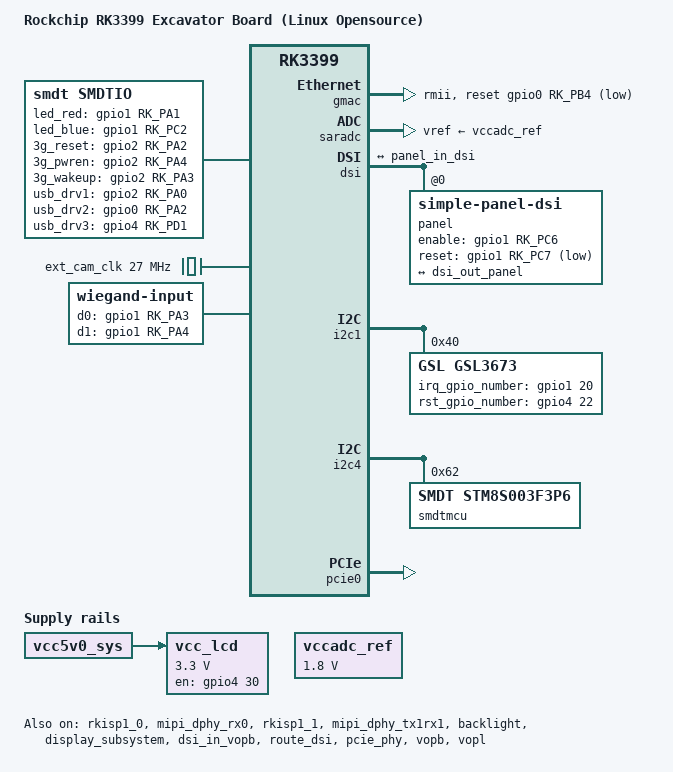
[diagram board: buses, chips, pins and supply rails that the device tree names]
/*
 * Copyright (c) 2016 Fuzhou Rockchip Electronics Co., Ltd
 *
 * This file is dual-licensed: you can use it either under the terms
 * of the GPL or the X11 license, at your option. Note that this dual
 * licensing only applies to this file, and not this project as a
 * whole.
 *
 *  a) This file is free software; you can redistribute it and/or
 *     modify it under the terms of the GNU General Public License as
 *     published by the Free Software Foundation; either version 2 of the
 *     License, or (at your option) any later version.
 *
 *     This file is distributed in the hope that it will be useful,
 *     but WITHOUT ANY WARRANTY; without even the implied warranty of
 *     MERCHANTABILITY or FITNESS FOR A PARTICULAR PURPOSE.  See the
 *     GNU General Public License for more details.
 *
 * Or, alternatively,
 *
 *  b) Permission is hereby granted, free of charge, to any person
 *     obtaining a copy of this software and associated documentation
 *     files (the "Software"), to deal in the Software without
 *     restriction, including without limitation the rights to use,
 *     copy, modify, merge, publish, distribute, sublicense, and/or
 *     sell copies of the Software, and to permit persons to whom the
 *     Software is furnished to do so, subject to the following
 *     conditions:
 *
 *     The above copyright notice and this permission notice shall be
 *     included in all copies or substantial portions of the Software.
 *
 *     THE SOFTWARE IS PROVIDED "AS IS", WITHOUT WARRANTY OF ANY KIND,
 *     EXPRESS OR IMPLIED, INCLUDING BUT NOT LIMITED TO THE WARRANTIES
 *     OF MERCHANTABILITY, FITNESS FOR A PARTICULAR PURPOSE AND
 *     NONINFRINGEMENT. IN NO EVENT SHALL THE AUTHORS OR COPYRIGHT
 *     HOLDERS BE LIABLE FOR ANY CLAIM, DAMAGES OR OTHER LIABILITY,
 *     WHETHER IN AN ACTION OF CONTRACT, TORT OR OTHERWISE, ARISING
 *     FROM, OUT OF OR IN CONNECTION WITH THE SOFTWARE OR THE USE OR
 *     OTHER DEALINGS IN THE SOFTWARE.
 */

/dts-v1/;

#include "rk3399-excavator-sapphire.dtsi"
#include "rk3399-linux.dtsi"
#include <dt-bindings/input/input.h>
#include <dt-bindings/pinctrl/rockchip.h>

/ {
	model = "Rockchip RK3399 Excavator Board (Linux Opensource)";
	compatible = "rockchip,rk3399-excavator-linux", "rockchip,rk3399";
	smdtio{
		compatible = "smdt,smdtio";
		status = "okay";

		led_red-gpio = <&gpio1 RK_PA1 GPIO_ACTIVE_HIGH>;
		led_blue-gpio = <&gpio1 RK_PC2 GPIO_ACTIVE_HIGH>;
		3g_reset-gpio = <&gpio2 RK_PA2 GPIO_ACTIVE_HIGH>;
		3g_pwren-gpio = <&gpio2 RK_PA4 GPIO_ACTIVE_HIGH>;
		3g_wakeup-gpio = <&gpio2 RK_PA3 GPIO_ACTIVE_HIGH>;
		//spk_clt-gpio = <&gpio0 RK_PB3 GPIO_ACTIVE_HIGH>;
		usb_drv1-gpio = <&gpio2 RK_PA0 GPIO_ACTIVE_HIGH>;
		usb_drv2-gpio = <&gpio0 RK_PA2 GPIO_ACTIVE_HIGH>;
		usb_drv3-gpio = <&gpio4 RK_PD1 GPIO_ACTIVE_HIGH>;
		phy_pwren-gpio = <&gpio4 RK_PD4 GPIO_ACTIVE_HIGH>;
		gpio_labels	=		"led_red",		"led_blue",
							"3g_reset",		"3g_pwren",
							"3g_wakeup",	//"spk_clt",
							"usb_drv1",		"usb_drv2",
							"usb_drv3",		"phy_pwren";
		gpio_direction =	"output",		"output",
							"output",		"output",
							"output",		//"output",
							"output",		"output",
							"output",		"output";
		gpio_default_value ="high",			"high",
							"high",			"high",
							"high",			//"high",
							"high",			"high",
							"high",			"high";
	};

	vcc_lcd: vcc-lcd {
		compatible = "regulator-fixed";
		regulator-name = "vcc_lcd";
		gpio = <&gpio4 30 GPIO_ACTIVE_HIGH>;//edp power
		startup-delay-us = <20000>;
		enable-active-high;
		regulator-min-microvolt = <3300000>;
		regulator-max-microvolt = <3300000>;
		regulator-boot-on;
		vin-supply = <&vcc5v0_sys>;
	};

	panel: panel {
		compatible = "simple-panel";
		status = "disabled";
		//backlight = <&backlight>;
		power-supply = <&vcc_lcd>;
		enable-gpios = <&gpio4 21 GPIO_ACTIVE_HIGH>;//8775_power
		prepare-delay-ms = <20>;
		enable-delay-ms = <20>;

		display-timings {
			native-mode = <&edp_timing>;

			edp_timing: timing0 {
				clock-frequency = <139000000>;
				hactive = <1920>;
				vactive = <1080>;
				hfront-porch = <40>;
				hsync-len = <20>;
				hback-porch = <100>;
				vfront-porch = <12>;
				vsync-len = <4>;
				vback-porch = <15>;
				hsync-active = <0>;
				vsync-active = <0>;
				de-active = <0>;
				pixelclk-active = <0>;
			};
		};

		port {
			panel_in: endpoint {
				remote-endpoint = <&edp_out>;
			};
		};
	};

	hdmi_sound: hdmi-sound {
		status = "okay";
	};

	/*gpio-keys {
		compatible = "gpio-keys";
		#address-cells = <1>;
		#size-cells = <0>;
		autorepeat;

		pinctrl-names = "default";
		pinctrl-0 = <&pwrbtn>;

		button@0 {
			gpios = <&gpio0 5 GPIO_ACTIVE_LOW>;
			linux,code = <KEY_POWER>;
			label = "GPIO Key Power";
			linux,input-type = <1>;
			gpio-key,wakeup = <1>;
			debounce-interval = <100>;
		};
	};*/

	vccadc_ref: vccadc-ref {
		compatible = "regulator-fixed";
		regulator-name = "vcc1v8_sys";
		regulator-always-on;
		regulator-boot-on;
		regulator-min-microvolt = <1800000>;
		regulator-max-microvolt = <1800000>;
	};

	ext_cam_clk: external-camera-clock {
		compatible = "fixed-clock";
		clock-frequency = <27000000>;
		clock-output-names = "CLK_CAMERA_27MHZ";
		#clock-cells = <0>;
	};

/*	adc-keys {
		compatible = "adc-keys";
		io-channels = <&saradc 1>;
		io-channel-names = "buttons";
		poll-interval = <100>;
		keyup-threshold-microvolt = <1800000>;

		button-up {
			label = "Volume Up";
			linux,code = <KEY_VOLUMEUP>;
			press-threshold-microvolt = <100000>;
		};

		button-down {
			label = "Volume Down";
			linux,code = <KEY_VOLUMEDOWN>;
			press-threshold-microvolt = <300000>;
		};

		back {
			label = "Back";
			linux,code = <KEY_BACK>;
			press-threshold-microvolt = <985000>;
		};

		menu {
			label = "Menu";
			linux,code = <KEY_MENU>;
			press-threshold-microvolt = <1314000>;
		};
	};*/
    wiegand-input{
        compatible = "wiegand-input";
        status = "okay";
        d0-gpios = <&gpio1 RK_PA3 GPIO_ACTIVE_HIGH>;
        d1-gpios = <&gpio1 RK_PA4 GPIO_ACTIVE_HIGH>;
    };
};

&gmac {
	phy-mode = "rmii";
	pinctrl-0 = <&rmii_pins>;
	snps,reset-gpio = <&gpio0 RK_PB4 GPIO_ACTIVE_LOW>;
};

&rkisp1_0 {
	status = "okay";

	port {
		#address-cells = <1>;
		#size-cells = <0>;

		isp0_mipi_in: endpoint@0 {
			reg = <0>;
			remote-endpoint = <&dphy_rx0_out>;
		};
	};
};

&mipi_dphy_rx0 {
	status = "okay";

	ports {
		#address-cells = <1>;
		#size-cells = <0>;

		port@0 {
			reg = <0>;
			#address-cells = <1>;
			#size-cells = <0>;

			mipi_in_ucam0: endpoint@1 {
				reg = <1>;
				remote-endpoint = <&ucam_out0>;
				data-lanes = <1 2>;
			};
		};

		port@1 {
			reg = <1>;
			#address-cells = <1>;
			#size-cells = <0>;

			dphy_rx0_out: endpoint@0 {
				reg = <0>;
				remote-endpoint = <&isp0_mipi_in>;
			};
		};
	};
};

&isp0_mmu {
	status = "okay";
};

&rkisp1_1 {
	status = "okay";

	port {
		#address-cells = <1>;
		#size-cells = <0>;

		isp1_mipi_in: endpoint@0 {
			reg = <0>;
			remote-endpoint = <&dphy_tx1rx1_out>;
		};
	};
};

&mipi_dphy_tx1rx1 {
	status = "okay";

	ports {
		#address-cells = <1>;
		#size-cells = <0>;

		port@0 {
			reg = <0>;
			#address-cells = <1>;
			#size-cells = <0>;

			mipi_in_ucam1: endpoint@1 {
				reg = <1>;
				/* Unlinked camera */
				//remote-endpoint = <&ucam_out1>;
				data-lanes = <1 2>;
			};
		};

		port@1 {
			reg = <1>;
			#address-cells = <1>;
			#size-cells = <0>;

			dphy_tx1rx1_out: endpoint@0 {
				reg = <0>;
				remote-endpoint = <&isp1_mipi_in>;
			};
		};
	};
};

&isp1_mmu {
	status = "okay";
};

&saradc {
	vref-supply = <&vccadc_ref>;
};

&backlight {
	status = "okay";
	enable-gpios = <&gpio1 RK_PB5 GPIO_ACTIVE_HIGH>;
};

&cdn_dp {
	status = "disabled";
	//extcon = <&fusb0>;
	phys = <&tcphy0_dp>;
};
&dmc {
	status = "disabled";
};

&display_subsystem {
	status = "okay";
};

&route_edp {
	connect = <&vopl_out_edp>;
	status = "disabled";
};

&edp {
	status = "disabled";
	force-hpd;

	ports {
		port@1 {
			reg = <1>;

			edp_out: endpoint {
				remote-endpoint = <&panel_in>;
			};
		};
	};
};

&edp_in_vopb {
	status = "disabled";
};
&edp_in_vopl {
	status = "disabled";
};

&dsi_in_vopl {
	status = "disabled";
};

&dsi_in_vopb {
	status = "okay";
};
&dsi {
	status = "okay";

	panel@0 {
		compatible ="simple-panel-dsi";
		reg = <0>;
		//backlight = <&backlight>;
		enable-gpios = <&gpio1 RK_PC6 GPIO_ACTIVE_HIGH>;
        reset-gpios = <&gpio1 RK_PC7 GPIO_ACTIVE_LOW>;
        reset-delay-ms = <60>;
        enable-delay-ms = <60>;
        prepare-delay-ms = <60>;
        init-delay-ms = <60>;
        unprepare-delay-ms = <60>;
        disable-delay-ms = <60>;
        dsi,flags = <(MIPI_DSI_MODE_VIDEO | MIPI_DSI_MODE_VIDEO_BURST |
            MIPI_DSI_MODE_LPM | MIPI_DSI_MODE_EOT_PACKET)>;

		dsi,format = <MIPI_DSI_FMT_RGB888>;
		dsi,lanes = <4>;
        panel-init-sequence = [
		15 00 02 E0 00
	15 00 02 E1 93
	15 00 02 E2 65
	15 00 02 E3 F8
	15 00 02 80 03
	15 00 02 E0 01
	15 00 02 00 00
	15 00 02 01 3C
	15 00 02 03 00
	15 00 02 04 3C
	15 00 02 0C 74
	15 00 02 17 00
	15 00 02 18 F7
	15 00 02 19 01
	15 00 02 1A 00
	15 00 02 1B F7
	15 00 02 1C 01
	15 00 02 24 F1
	15 00 02 35 23
	15 00 02 37 09
	15 00 02 38 04
	15 00 02 39 00
	15 00 02 3A 01
	15 00 02 3C 70
	15 00 02 3D FF
	15 00 02 3E FF
	15 00 02 3F 7F
	15 00 02 40 06
	15 00 02 41 A0
	15 00 02 43 1E
	15 00 02 44 0B
	15 00 02 45 28
	15 00 02 55 01
	15 00 02 57 A9
	15 00 02 59 0A
	15 00 02 5A 2D
	15 00 02 5B 1A
	15 00 02 5C 15
	15 00 02 5D 7F
	15 00 02 5E 69
	15 00 02 5F 59
	15 00 02 60 4C
	15 00 02 61 47
	15 00 02 62 38
	15 00 02 63 3D
	15 00 02 64 27
	15 00 02 65 41
	15 00 02 66 40
	15 00 02 67 40
	15 00 02 68 5B
	15 00 02 69 46
	15 00 02 6A 49
	15 00 02 6B 3A
	15 00 02 6C 34
	15 00 02 6D 25
	15 00 02 6E 15
	15 00 02 6F 02
	15 00 02 70 7F
	15 00 02 71 69
	15 00 02 72 59
	15 00 02 73 4C
	15 00 02 74 47
	15 00 02 75 38
	15 00 02 76 3D
	15 00 02 77 27
	15 00 02 78 41
	15 00 02 79 40
	15 00 02 7A 40
	15 00 02 7B 5B
	15 00 02 7C 46
	15 00 02 7D 49
	15 00 02 7E 3A
	15 00 02 7F 34
	15 00 02 80 25
	15 00 02 81 15
	15 00 02 82 02
	15 00 02 E0 02
	15 00 02 00 50
	15 00 02 01 5F
	15 00 02 02 5F
	15 00 02 03 52
	15 00 02 04 77
	15 00 02 05 57
	15 00 02 06 5F
	15 00 02 07 4E
	15 00 02 08 4C
	15 00 02 09 5F
	15 00 02 0A 4A
	15 00 02 0B 48
	15 00 02 0C 5F
	15 00 02 0D 46
	15 00 02 0E 44
	15 00 02 0F 40
	15 00 02 10 5F
	15 00 02 11 5F
	15 00 02 12 5F
	15 00 02 13 5F
	15 00 02 14 5F
	15 00 02 15 5F
	15 00 02 16 51
	15 00 02 17 5F
	15 00 02 18 5F
	15 00 02 19 53
	15 00 02 1A 77
	15 00 02 1B 57
	15 00 02 1C 5F
	15 00 02 1D 4F
	15 00 02 1E 4D
	15 00 02 1F 5F
	15 00 02 20 4B
	15 00 02 21 49
	15 00 02 22 5F
	15 00 02 23 47
	15 00 02 24 45
	15 00 02 25 41
	15 00 02 26 5F
	15 00 02 27 5F
	15 00 02 28 5F
	15 00 02 29 5F
	15 00 02 2A 5F
	15 00 02 2B 5F
	15 00 02 2C 01
	15 00 02 2D 1F
	15 00 02 2E 1F
	15 00 02 2F 13
	15 00 02 30 17
	15 00 02 31 17
	15 00 02 32 1F
	15 00 02 33 0D
	15 00 02 34 0F
	15 00 02 35 1F
	15 00 02 36 05
	15 00 02 37 07
	15 00 02 38 1F
	15 00 02 39 09
	15 00 02 3A 0B
	15 00 02 3B 11
	15 00 02 3C 1F
	15 00 02 3D 1F
	15 00 02 3E 1F
	15 00 02 3F 1F
	15 00 02 40 1F
	15 00 02 41 1F
	15 00 02 42 00
	15 00 02 43 1F
	15 00 02 44 1F
	15 00 02 45 12
	15 00 02 46 17
	15 00 02 47 17
	15 00 02 48 1F
	15 00 02 49 0C
	15 00 02 4A 0E
	15 00 02 4B 1F
	15 00 02 4C 04
	15 00 02 4D 06
	15 00 02 4E 1F
	15 00 02 4F 08
	15 00 02 50 0A
	15 00 02 51 10
	15 00 02 52 1F
	15 00 02 53 1F
	15 00 02 54 1F
	15 00 02 55 1F
	15 00 02 56 1F
	15 00 02 57 1F
	15 00 02 58 40
	15 00 02 5B 10
	15 00 02 5C 06
	15 00 02 5D 40
	15 00 02 5E 00
	15 00 02 5F 00
	15 00 02 60 40
	15 00 02 61 03
	15 00 02 62 04
	15 00 02 63 6C
	15 00 02 64 6C
	15 00 02 65 75
	15 00 02 66 08
	15 00 02 67 B4
	15 00 02 68 08
	15 00 02 69 6C
	15 00 02 6A 6C
	15 00 02 6B 0C
	15 00 02 6D 00
	15 00 02 6E 00
	15 00 02 6F 88
	15 00 02 75 BB
	15 00 02 76 00
	15 00 02 77 05
	15 00 02 78 2A
	15 00 02 E0 04
	15 00 02 09 11
	15 00 02 0E 48
	15 00 02 2B 08
	15 00 02 2D 03
	15 00 02 2E 03
	15 00 02 E0 00
	05 78 01 11
	05 05 01 29
        ];

        panel-exit-sequence = [
            05 00 01 28
            05 00 01 10
        ];

		display-timings {
			native-mode = <&dsi_timing>;

			dsi_timing: timing0 {
				clock-frequency = <70000000>;
				hactive = <800>;
				vactive = <1280>;
				hback-porch = <20>;
				hfront-porch = <20>;
				vback-porch = <8>;
				vfront-porch = <30>;
				hsync-len = <20>;
				vsync-len = <4>;
				hsync-active = <0>;
				vsync-active = <0>;
				de-active = <0>;
				pixelclk-active = <0>;
			};
		};

		ports {
			#address-cells = <1>;
			#size-cells = <0>;

			port@0 {
				reg = <0>;
				panel_in_dsi: endpoint {
					remote-endpoint = <&dsi_out_panel>;
				};
			};
		};
	};

	ports {
		#address-cells = <1>;
		#size-cells = <0>;

		port@1 {
			reg = <1>;
			dsi_out_panel: endpoint {
				remote-endpoint = <&panel_in_dsi>;
			};
		};
	};
};
&route_dsi {
	connect = <&vopb_out_dsi>;
	status = "okay";
};

&hdmi {
	pinctrl-names = "default";
	pinctrl-0 = <&hdmi_i2c_xfer>, <&hdmi_cec>;
	#address-cells = <1>;
	#size-cells = <0>;
	#sound-dai-cells = <0>;
	status = "disabled";
};

&route_hdmi {
	connect = <&vopb_out_hdmi>;
	status = "disabled";
};

&hdmi_in_vopb {
	status = "disabled";
};

&hdmi_in_vopl {
	status = "disabled";
};

&i2c1 {
	status = "okay";

	gsl3673: gsl3673@40 {
		compatible = "GSL,GSL3673";
		reg = <0x40>;
		screen_max_x = <1536>;
		screen_max_y = <2048>;
		irq_gpio_number = <&gpio1 20 IRQ_TYPE_LEVEL_LOW>;
		rst_gpio_number = <&gpio4 22 GPIO_ACTIVE_HIGH>;
	};

	tc358749x: tc358749x@f {
		compatible = "toshiba,tc358749";
		reg = <0xf>;
		clocks = <&ext_cam_clk>;
		clock-names = "refclk";
		reset-gpios = <&gpio2 7 GPIO_ACTIVE_LOW>;
		interrupt-parent = <&gpio2>;
		interrupts = <12 IRQ_TYPE_LEVEL_LOW>;
		pinctrl-names = "default";
		pinctrl-0 = <&hdmiin_gpios>;
		status = "disabled";
		port {
			hdmiin_out0: endpoint {
				/* Unlinked mipi dphy rx0 */
				//remote-endpoint = <&mipi_in_ucam0>;
				data-lanes = <1 2 3 4>;
				clock-noncontinuous;
				link-frequencies =
					/bits/ 64 <297000000>;
			};
		};
	};

	vm149c: vm149c@c {
		compatible = "silicon touch,vm149c";
		status = "disabled";
		reg = <0x0c>;
		rockchip,camera-module-index = <0>;
		rockchip,camera-module-facing = "back";
	};

	ov13850: ov13850@10 {
		compatible = "ovti,ov13850";
		status = "disabled";
		reg = <0x10>;
		clocks = <&cru SCLK_CIF_OUT>;
		clock-names = "xvclk";

		/* conflict with csi-ctl-gpios */
		reset-gpios = <&gpio2 10 GPIO_ACTIVE_HIGH>;
		//pwdn-gpios = <&gpio1 4 GPIO_ACTIVE_HIGH>;
		pinctrl-names = "rockchip,camera_default";
		pinctrl-0 = <&cif_clkout>;

		lens-focus = <&vm149c>;

		port {
			ucam_out0: endpoint {
				remote-endpoint = <&mipi_in_ucam0>;
				data-lanes = <1 2>;
			};
		};
	};
};

&i2c4 {
	status = "okay";
	i2c-scl-rising-time-ns = <475>;
	i2c-scl-falling-time-ns = <26>;

	smdtmcu: smdtmcu@62 {
		compatible = "SMDT,STM8S003F3P6";
		reg = <0x62>;
		status = "okay";
	};
};

&pcie_phy {
	status = "okay";
};

&pcie0 {
	status = "okay";
};

&vopb {
	status = "okay";
	assigned-clocks = <&cru DCLK_VOP0_DIV>;
	assigned-clock-parents = <&cru PLL_VPLL>;
};

&vopb_mmu {
	status = "okay";
};

&vopl {
	status = "okay";
	assigned-clocks = <&cru DCLK_VOP1_DIV>;
	assigned-clock-parents = <&cru PLL_CPLL>;
};

&vopl_mmu {
	status = "okay";
};

&pinctrl {
	buttons {
		pwrbtn: pwrbtn {
			rockchip,pins = <0 RK_PA5 RK_FUNC_GPIO &pcfg_pull_up>;
		};
	};

	lcd-panel {
		lcd_panel_reset: lcd-panel-reset {
			rockchip,pins = <4 RK_PD6 RK_FUNC_GPIO &pcfg_pull_up>;
		};
	};

	hdmiin {
		hdmiin_gpios: hdmiin-gpios {
			rockchip,pins =
				<2 RK_PA5 RK_FUNC_GPIO &pcfg_output_high>,
				<2 RK_PA6 RK_FUNC_GPIO &pcfg_output_high>,
				<2 RK_PA7 RK_FUNC_GPIO &pcfg_pull_none>,
				<2 RK_PB0 RK_FUNC_GPIO &pcfg_output_high>,
				<2 RK_PB1 RK_FUNC_GPIO &pcfg_output_high>,
				<2 RK_PB2 RK_FUNC_GPIO &pcfg_output_low>,
				<2 RK_PB4 RK_FUNC_GPIO &pcfg_pull_none>;
		};
	};
};
